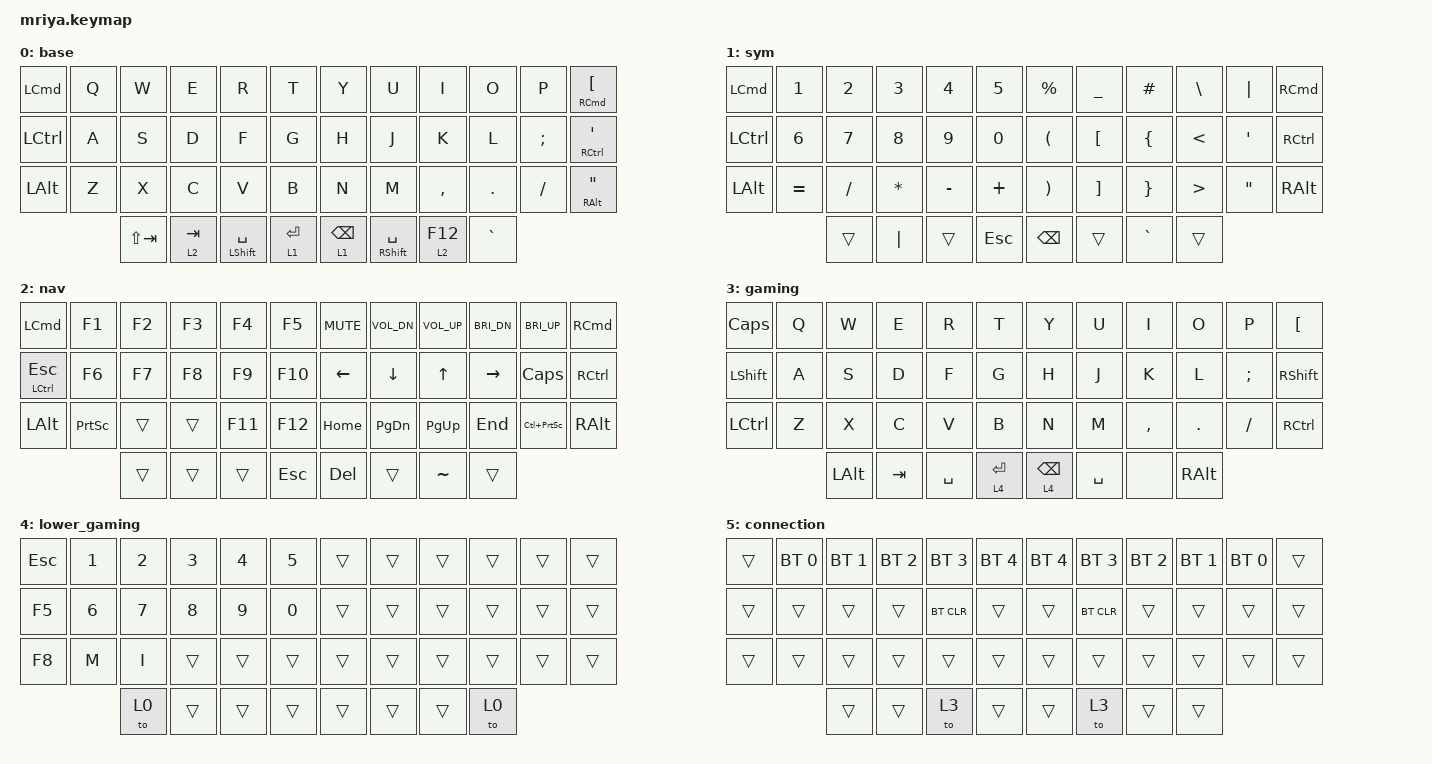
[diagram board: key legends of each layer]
/*
 * Copyright (c) 2023 Andrei Gaevskii
 *
 * SPDX-License-Identifier: MIT
 */

#include <behaviors.dtsi>
#include <dt-bindings/zmk/bt.h>
#include <dt-bindings/zmk/keys.h>

#define DEF 0
#define LWR 1
#define RSE 2
#define ADJ 3

/ {
    behaviors {
        hml: hml {
            compatible = "zmk,behavior-hold-tap";
            label = "HML";
            bindings = <&kp>, <&kp>;

            #binding-cells = <2>;
            tapping-term-ms = <200>;
            flavor = "balanced";
            hold-trigger-key-positions = <6 18 40 41 30 32 7 8 9 10 11 19 20 21 22 23 31 32 33 34 35 42 43 36 37 38 39>;
            hold-trigger-on-release;
        };

        hmr: hmr {
            compatible = "zmk,behavior-hold-tap";
            label = "HMR";
            bindings = <&kp>, <&kp>;

            #binding-cells = <2>;
            tapping-term-ms = <200>;
            flavor = "balanced";
            hold-trigger-key-positions = <0 1 2 3 4 5 12 13 14 15 16 17 24 25 26 27 28 29 36 37 38 39 40 41 42 43>;
            hold-trigger-on-release;
        };

        lt_tap: lt_tap {
            compatible = "zmk,behavior-hold-tap";
            label = "LT_TAP";
            bindings = <&mo>, <&kp>;

            #binding-cells = <2>;
            tapping-term-ms = <200>;
            flavor = "tap-preferred";
        };

        lt_hold: lt_hold {
            compatible = "zmk,behavior-hold-tap";
            label = "LT_HOLD";
            bindings = <&mo>, <&kp>;

            #binding-cells = <2>;
            tapping-term-ms = <200>;
        };
    };

    combos {
        compatible = "zmk,combos";

        land {
            bindings = <&kp LG(SPACE)>;
            key-positions = <38 41>;
            layers = <0>;
            timeout-ms = <1500>;
        };

        exc {
            bindings = <&kp EXCL>;
            key-positions = <2 1>;
            layers = <1>;
        };

        at {
            bindings = <&kp AT>;
            key-positions = <3 2>;
            layers = <1>;
        };

        caret {
            bindings = <&kp CARET>;
            key-positions = <4 5>;
            layers = <1>;
        };

        doll {
            bindings = <&kp DOLLAR>;
            key-positions = <16 17>;
            layers = <1>;
        };

        amp {
            bindings = <&kp AMPS>;
            key-positions = <3 4>;
            layers = <1>;
        };

        rconnect {
            bindings = <&mo 5>;
            key-positions = <40 43>;
            timeout-ms = <1500>;
            layers = <0>;
        };

        lconnect {
            bindings = <&mo 5>;
            key-positions = <36 39>;
            timeout-ms = <1500>;
            layers = <0>;
        };
    };

    keymap {
        compatible = "zmk,keymap";

        base {
            bindings = <
  &kp LCMD   &kp Q  &kp W        &kp E          &kp R              &kp T             &kp Y                 &kp U             &kp I          &kp O      &kp P          &hmr RCMD LBKT
  &kp LCTRL  &kp A  &kp S        &kp D          &kp F              &kp G             &kp H                 &kp J             &kp K          &kp L      &kp SEMICOLON  &hmr RCTRL SQT
  &kp LALT   &kp Z  &kp X        &kp C          &kp V              &kp B             &kp N                 &kp M             &kp COMMA      &kp DOT    &kp SLASH      &hmr RALT DQT
                    &kp LS(TAB)  &lt_tap 2 TAB  &hml LSHIFT SPACE  &lt_hold 1 RET    &lt_hold 1 BACKSPACE  &hmr RSHFT SPACE  &lt_tap 2 F12  &kp GRAVE
            >;
        };

        sym {
            bindings = <
  &kp LCMD   &kp N1     &kp N2    &kp N3        &kp N4     &kp N5        &kp PERCENT            &kp UNDER         &kp HASH         &kp BACKSLASH     &kp PIPE           &kp RCMD
  &kp LCTRL  &kp N6     &kp N7    &kp N8        &kp N9     &kp N0        &kp LEFT_PARENTHESIS   &kp LEFT_BRACKET  &kp LEFT_BRACE   &kp LESS_THAN     &kp APOS           &kp RCTRL
  &kp LALT   &kp EQUAL  &kp FSLH  &kp ASTERISK  &kp MINUS  &kp PLUS      &kp RIGHT_PARENTHESIS  &kp RBKT          &kp RIGHT_BRACE  &kp GREATER_THAN  &kp DOUBLE_QUOTES  &kp RALT
                        &trans    &kp PIPE      &trans     &kp ESCAPE    &kp BACKSPACE          &trans            &kp GRAVE        &trans
            >;
        };

        nav {
            bindings = <
  &kp LCMD          &kp F1           &kp F2  &kp F3  &kp F4   &kp F5        &kp C_MUTE  &kp C_VOL_DN    &kp C_VOL_UP  &kp C_BRI_DN     &kp C_BRI_UP         &kp RCMD
  &mt LCTRL ESCAPE  &kp F6           &kp F7  &kp F8  &kp F9   &kp F10       &kp LEFT    &kp DOWN_ARROW  &kp UP_ARROW  &kp RIGHT_ARROW  &kp CAPS             &kp RCTRL
  &kp LALT          &kp PRINTSCREEN  &trans  &trans  &kp F11  &kp F12       &kp HOME    &kp PAGE_DOWN   &kp PG_UP     &kp END          &kp LC(PRINTSCREEN)  &kp RIGHT_ALT
                                     &trans  &trans  &trans   &kp ESCAPE    &kp DELETE  &trans          &kp TILDE     &trans
            >;
        };

        gaming {
            bindings = <
  &kp CAPSLOCK  &kp Q  &kp W         &kp E    &kp R      &kp T        &kp Y            &kp U      &kp I      &kp O          &kp P     &kp LEFT_BRACKET
  &kp LSHIFT    &kp A  &kp S         &kp D    &kp F      &kp G        &kp H            &kp J      &kp K      &kp L          &kp SEMI  &kp RSHIFT
  &kp LCTRL     &kp Z  &kp X         &kp C    &kp V      &kp B        &kp N            &kp M      &kp COMMA  &kp DOT        &kp FSLH  &kp RCTRL
                       &kp LEFT_ALT  &kp TAB  &kp SPACE  &lt 4 RET    &lt 4 BACKSPACE  &kp SPACE  &none      &kp RIGHT_ALT
            >;
        };

        lower_gaming {
            bindings = <
  &kp ESCAPE  &kp N1        &kp NUMBER_2  &kp NUMBER_3  &kp NUMBER_4  &kp NUMBER_5    &trans  &trans  &trans  &trans  &trans  &trans
  &kp F5      &kp NUMBER_6  &kp NUMBER_7  &kp N8        &kp NUMBER_9  &kp NUMBER_0    &trans  &trans  &trans  &trans  &trans  &trans
  &kp F8      &kp M         &kp I         &trans        &trans        &trans          &trans  &trans  &trans  &trans  &trans  &trans
                            &to 0         &trans        &trans        &trans          &trans  &trans  &trans  &to 0
            >;
        };

        connection {
            bindings = <
  &trans  &bt BT_SEL 0  &bt BT_SEL 1  &bt BT_SEL 2  &bt BT_SEL 3  &bt BT_SEL 4    &bt BT_SEL 4  &bt BT_SEL 3  &bt BT_SEL 2  &bt BT_SEL 1  &bt BT_SEL 0  &trans
  &trans  &trans        &trans        &trans        &bt BT_CLR    &trans          &trans        &bt BT_CLR    &trans        &trans        &trans        &trans
  &trans  &trans        &trans        &trans        &trans        &trans          &trans        &trans        &trans        &trans        &trans        &trans
                        &trans        &trans        &to 3         &trans          &trans        &to 3         &trans        &trans
            >;
        };
    };
};
